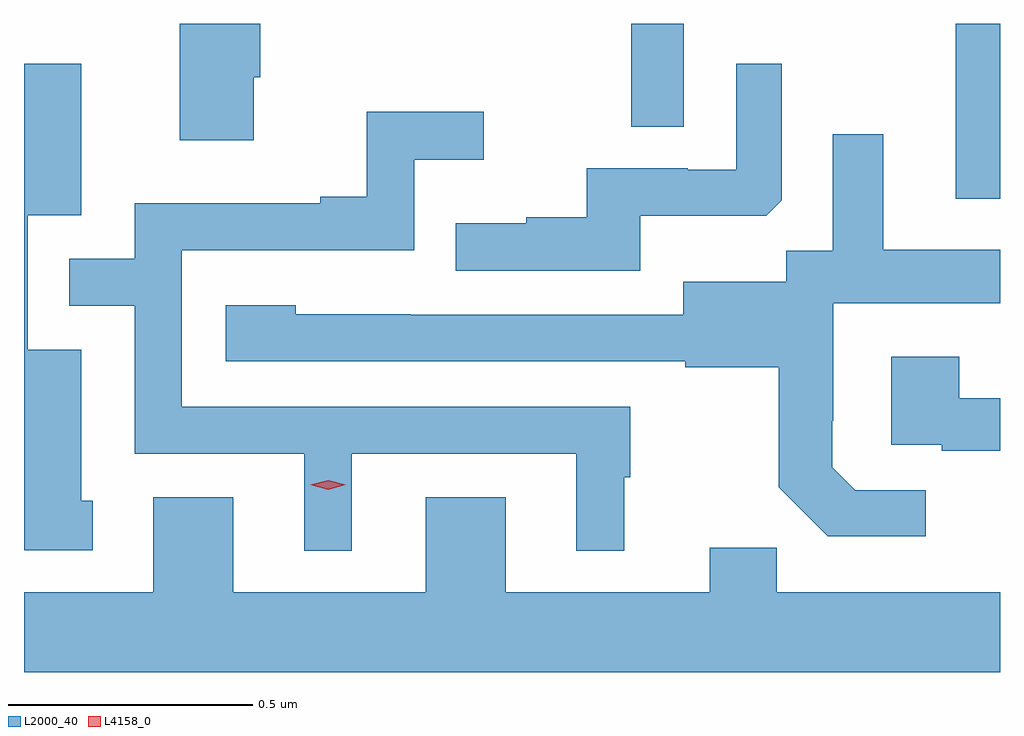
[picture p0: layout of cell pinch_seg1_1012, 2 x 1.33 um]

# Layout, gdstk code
import gdstk
lib = gdstk.Library(unit=1e-6, precision=1e-09)
def R(c, l, rs):  # rectangles x0, y0, x1, y1
    for r in rs: c.add(gdstk.rectangle(r[:2], r[2:], *l))
def P(c, l, *ps):  # polygons
    for p in ps: c.add(gdstk.Polygon(p, *l))
L2000_40 = (2000, 40)
L4158_0 = (4158, 0)

pinch_seg1_1012 = lib.new_cell('pinch_seg1_1012')
R(pinch_seg1_1012, L2000_40, [(323.291,552.702,323.382,553.061), (322.626,552.85,322.734,553.061)])
P(pinch_seg1_1012, L2000_40, [(321.853,552.951),(321.866,552.951),(321.866,553.061),(321.701,553.061),(321.701,552.822),(321.853,552.822)],
  [(321.523,552.084),(321.499,552.084),(321.499,552.393),(321.39,552.393),(321.39,552.669),(321.499,552.669),(321.499,552.979),(321.383,552.979),(321.383,552.77),(321.382,552.77),(321.382,552.288),(321.383,552.288),(321.383,551.982),(321.523,551.982)],
  [(322.645,552.668),(322.903,552.668),(322.935,552.699),(322.935,552.979),(322.842,552.979),(322.842,552.762),(322.742,552.762),(322.742,552.765),(322.535,552.765),(322.535,552.664),(322.411,552.664),(322.411,552.652),(322.267,552.652),(322.267,552.555),(322.645,552.555)],
  [(322.054,552.18),(322.514,552.18),(322.514,551.981),(322.612,551.981),(322.612,552.132),(322.624,552.132),(322.624,552.276),(321.705,552.276),(321.705,552.597),(322.182,552.597),(322.182,552.782),(322.324,552.782),(322.324,552.881),(322.084,552.881),(322.084,552.706),(321.989,552.706),(321.989,552.693),(321.609,552.693),(321.609,552.579),(321.475,552.579),(321.475,552.483),(321.609,552.483),(321.609,552.18),(321.956,552.18),(321.956,551.981),(322.054,551.981)],
  [(323.23,552.105),(323.085,552.105),(323.038,552.152),(323.038,552.247),(323.04,552.247),(323.04,552.488),(323.382,552.488),(323.382,552.598),(323.143,552.598),(323.143,552.835),(323.039,552.835),(323.039,552.596),(322.944,552.596),(322.944,552.532),(322.733,552.532),(322.733,552.465),(322.175,552.465),(322.175,552.466),(321.939,552.466),(321.939,552.484),(321.795,552.484),(321.795,552.369),(322.737,552.369),(322.737,552.357),(322.929,552.357),(322.929,552.111),(323.029,552.011),(323.23,552.011)],
  [(323.382,552.294),(323.299,552.294),(323.299,552.379),(323.159,552.379),(323.159,552.198),(323.263,552.198),(323.263,552.186),(323.382,552.186)],
  [(323.382,551.896),(322.925,551.896),(322.925,551.987),(322.787,551.987),(322.787,551.896),(322.369,551.896),(322.369,552.091),(322.205,552.091),(322.205,551.896),(321.811,551.896),(321.811,552.091),(321.647,552.091),(321.647,551.896),(321.382,551.896),(321.382,551.732),(323.382,551.732)])
P(pinch_seg1_1012, L4158_0, [(322.005,552.106),(321.969,552.116),(321.969,552.116),(321.969,552.116),(322.005,552.126),(322.041,552.116),(322.041,552.116),(322.041,552.116)])

lib.write_gds('pinch_seg1_1012.gds')
